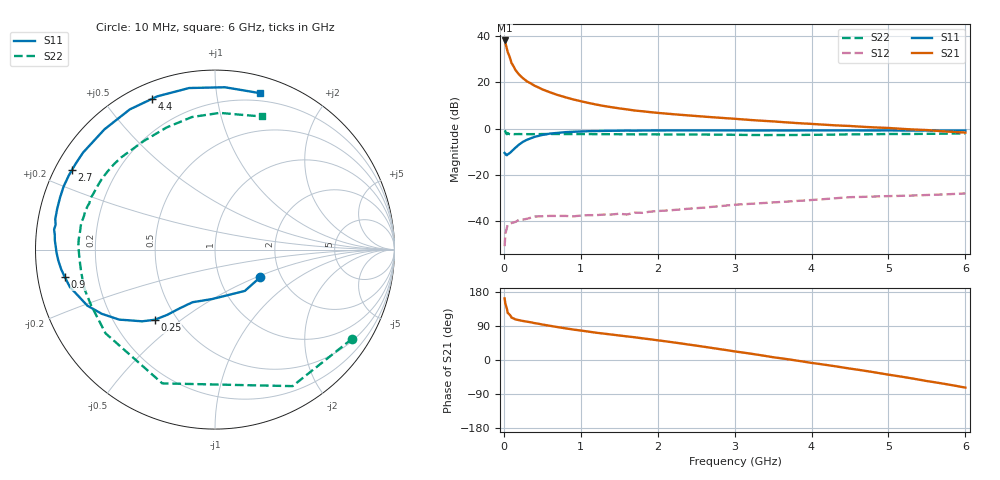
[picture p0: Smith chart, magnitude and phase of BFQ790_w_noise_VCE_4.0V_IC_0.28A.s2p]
! Infineon Technologies  Discrete & RF Semiconductors
! BFQ790
! VCE =  4.0 V,  IC = 0.28 A
! Common Emitter S-Parameters:  May 2015
# GHz  S  MA  R  50
!  f  S11  S21  S12  S22
! GHz  MAG  ANG  MAG  ANG  MAG  ANG  MAG  ANG
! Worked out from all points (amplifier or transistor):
!   77 points, 10 MHz to 6 GHz, reference 50 ohm
!   highest |S21| = 38.2 dB at 10 MHz (marker M1)
!   |S21| within 3 dB of that: start of sweep to 35.04 MHz
!   unconditionally stable (mu >= 1): 212.1 MHz to end of sweep
!   at 130 MHz: K = 0.83, MSG = 33.7 dB, |S12| = -40.7 dB
!   at 2.2 GHz: K = 1.34, MAG = 17.3 dB, |S12| = -35.4 dB
!   at 6 GHz: K = 1.12, MAG = 11.1 dB, |S12| = -28.2 dB
!   lowest NFmin = 3.93 dB at 1.5 GHz
!   S11 on the Smith chart (normalised r, x): 10 MHz: 1.57, -0.53; 250 MHz: 0.38, -0.40; 900 MHz: 0.08, -0.09; 2.7 GHz: 0.05, +0.26; 4.4 GHz: 0.07, +0.66; 6 GHz: 0.13, +1.32
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0.01  0.2957 -31.2  81.59 162.6  0.0028 71.6  0.9115 -33.0
0.02  0.2839 -54.2  72.34 148.1  0.0052 55.2  0.8748 -60.4
0.05  0.2757 -93.1  45.75 124.3  0.0081 33.1  0.8011 -111.5
0.1  0.3188 -113.1  26.4 111.7  0.0089 21.9  0.7677 -142.6
0.15  0.3824 -121.1  18.69 107.2  0.0094 21.2  0.7568 -155.8
0.2  0.452 -126.3  14.72 104.9  0.0105 22.8  0.7592 -162.7
0.25  0.516 -130.7  12.3 102.9  0.0106 18.6  0.7566 -167.2
0.3  0.5701 -135.5  10.61 101.2  0.011 16.4  0.7558 -170.8
0.4  0.6607 -143.8  8.493 97.3  0.0123 17.2  0.7565 -175.6
0.5  0.7257 -150.5  7.094 93.7  0.0125 12.1  0.7588 -179.2
0.6  0.7768 -156.3  6.115 90.2  0.0127 11.3  0.7616 177.9
0.7  0.8056 -161.5  5.344 86.8  0.0127 14.6  0.7613 175.5
0.9  0.851 -169.7  4.288 80.4  0.0124 10.8  0.7584 171.7
1.1  0.8754 -176.1  3.592 74.9  0.0132 12.5  0.7584 168.2
1.5  0.8966 174.7  2.739 64.7  0.0142 15.5  0.752 162.5
2.1  0.9089 163.5  2.116 49.4  0.0166 16.4  0.7449 153.7
2.7  0.9119 150.8  1.765 32.0  0.0199 11.5  0.7381 142.0
3.1  0.9094 141.5  1.582 19.9  0.0227 7.2  0.7281 132.9
4.1  0.9112 119.2  1.23 -10.4  0.0289 -7.3  0.7329 109.3
4.4  0.9103 112.8  1.154 -19.5  0.0315 -13.6  0.7436 102.2
5.1  0.9071 96.6  1.003 -41.8  0.0344 -27.6  0.7612 86.0
6  0.9072 73.8  0.818 -72.9  0.0391 -49.0  0.7873 70.4
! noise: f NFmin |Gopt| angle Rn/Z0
0.45  6.54  0.52  144  0.63
0.9  4.59  0.65  170  0.19
1.5  3.93  0.74  -171  0.11
1.8  3.97  0.75  -166  0.13
2.6  4.12  0.77  -151  0.34
3.5  4.55  0.85  -134  0.75
